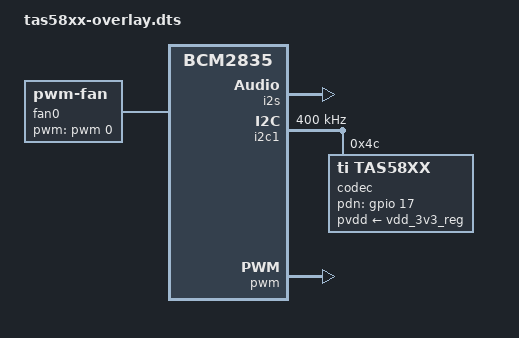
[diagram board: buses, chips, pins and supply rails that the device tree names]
/dts-v1/;
/plugin/;

/ {
    compatible = "brcm,bcm2835";

    /* --- ORIGINAL AUDIO: Fragment 0 --- */
    fragment@0 {
        target = <&i2s>;
        __overlay__ {
            status = "okay";
        };
    };

    /* --- ORIGINAL AUDIO: Fragment 1 (Updated with your custom hardware specs) --- */
    fragment@1 {
        target = <&i2c1>;
        __overlay__ {
            status = "okay";
            clock-frequency = <400000>;
            #address-cells = <1>;
            #size-cells = <0>;

            codec: tas58xx@4c {
                #sound-dai-cells = <0>;
                compatible = "ti,tas58xx";
                reg = <0x4c>;  /* Your custom I2C address */
                pvdd-supply = <&vdd_3v3_reg>;
                pdn-gpios = <&gpio 17 0>; /* Your custom Power Down GPIO17 */
                
                ti,modulation-mode = <2>; /* Set to Hybrid Mode for your LC Filter */
                ti,switching-freq = <0>;
                ti,eq-mode = <1>;
                ti,mixer-mode = <0>;
                ti,fault-monitor;
            };
        };
    };

    /* --- ORIGINAL AUDIO: Fragment 2 --- */
    fragment@2 {
        target = <&sound>;
        __overlay__ {
            status = "okay";
            compatible = "simple-audio-card";
            label = "Louder-Raspberry";
            simple-audio-card,dai-link {
                format = "i2s";
                bitclock-master = <&dailink_master>;
                frame-master = <&dailink_master>;
                dailink_master: cpu {
                        sound-dai = <&i2s>;
                        dai-tdm-slot-num = <2>;
                        dai-tdm-slot-width = <32>;
                };
                codec {
                        sound-dai = <&codec>;
                };
            };
        };
    };

    /* --- MERGED FAN: Section 2 (GPIO12 Hardware PWM Fan Routing) --- */
    fragment@3 {
        target = <&gpio>;
        __overlay__ {
            pwm_pins: pwm_pins {
                brcm,pins = <12>;      /* Targets your fan control on GPIO12 */
                brcm,function = <4>;    /* Alt0 function routes it to Hardware PWM0 */
            };
        };
    };

    fragment@4 {
        target = <&pwm>;
        __overlay__ {
            pinctrl-names = "default";
            pinctrl-0 = <&pwm_pins>;
            status = "okay";
        };
    };

    /* --- MERGED FAN: Section 3 (40kHz Smart Thermal Profile with Lowered Temps) --- */
    fragment@5 {
        target-path = "/";
        __overlay__ {
            fan0: pwm-fan {
                compatible = "pwm-fan";
                cooldown-cells = <2>;
                pwms = <&pwm 0 25000 0>; /* Your verified 40kHz profile */
                cooling-levels = <0 26 128 255>;
                #cooling-cells = <2>;
                status = "okay";
            };
        };
    };

    fragment@6 {
        target = <&cpu_thermal>;
        __overlay__ {
            trips {
                fan_trip0: fan-trip0 {
                    temperature = <40000>; /* Low idle trigger at 40°C */
                    hysteresis = <2000>;
                    type = "active";
                };
                fan_trip1: fan-trip1 {
                    temperature = <48000>; /* Steps up to 50% speed at 48°C */
                    hysteresis = <2000>;
                    type = "active";
                };
                fan_trip2: fan-trip2 {
                    temperature = <55000>; /* Transitions to 100% blast at 55°C */
                    hysteresis = <2000>;
                    type = "active";
                };
            };
            cooling-maps {
                map0 {
                    trip = <&fan_trip0>;
                    cooling-device = <&fan0 1 1>;
                };
                map1 {
                    trip = <&fan_trip1>;
                    cooling-device = <&fan0 2 2>;
                };
                map2 {
                    trip = <&fan_trip2>;
                    cooling-device = <&fan0 3 3>;
                };
            };
        };
    };

    /* --- MANDATORY OVERRIDES: Kept intact for the driver controls --- */
    __overrides__ {
            firmware = <&codec>,"ti,dsp-config-name";
            i2creg = <&codec>,"reg:<>";
            pdn_gpio = <&codec>,"pdn-gpios:17";
            eq_mode = <&codec>,"ti,eq-mode:1";
            mixer_mode = <&codec>,"ti,mixer-mode:0";
            bridge_mode = <&codec>,"ti,bridge-mode?";
            fault_monitor = <&codec>,"ti,fault-monitor?";
    };
}; /* The absolute final closing brace for the whole file tree */
